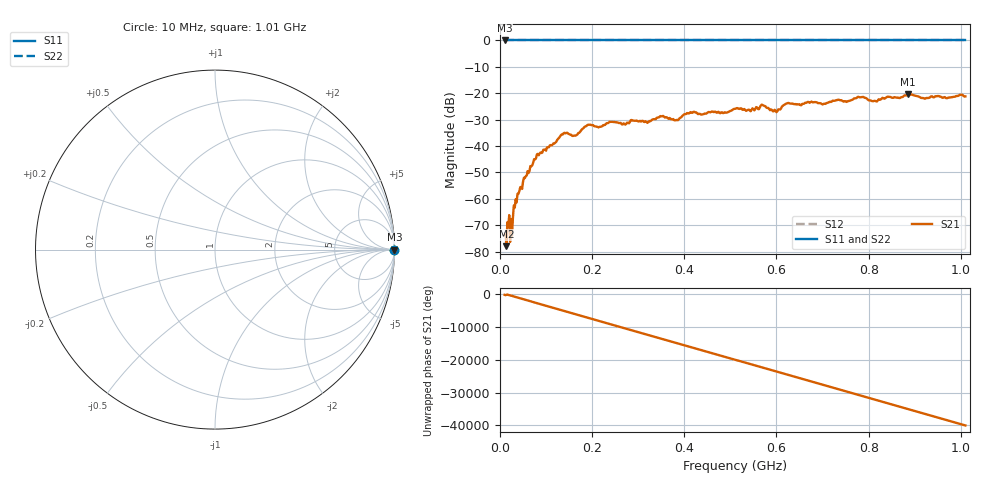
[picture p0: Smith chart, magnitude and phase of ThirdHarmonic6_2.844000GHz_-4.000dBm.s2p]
! 8/17/2025 7:39:20 AM
! C:\ANRITSUVNA\TEMP\TEMP.S2P
! CHANNEL.1
! TR.MEASUREMENT
! RAW.DATA
! RF.CORRECTION.OFF
! AVERAGING.OFF
! IF.BANDWIDTH: 5KHZ
! SWEEPTYPE:  FREQ.SWEEP(Linear)
! Reference Plane Port Info
! PORT:  PORT1  PORT2
! DISTANCE:  0  m  0  m
! TIME:  0  s  0  s
! PHASE.OFFSET:  0  deg.  0  deg.
! LOSS:  0  dB  0  dB
! REF.LOSS:  0  dB  0  dB
! REF.FREQ:  0  Hz  0  Hz
! Power Info
! POWER:  -20  dBm  -20  dBm
! EFF.POWER:  -20  dBm  -20  dBm
! SOURCE.ATTEN:  0  dB  0  dB
! TEST.ATTEN:  0  dB  0  dB
# GHZ S RI R 50.0
! FREQ.GHZ  S11RE  S11IM  S21RE  S21IM  S12RE  S12IM  S22RE  S22IM
!; PortSelection: Port_12
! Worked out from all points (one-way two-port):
!   501 points, 10 MHz to 1.01 GHz, reference 50 ohm
!   highest |S21| = -20.43 dB at 886 MHz (marker M1); lowest = -77.9 dB at 14 MHz (marker M2)
!   lowest |S11| = 0.0 dB at 10 MHz (marker M3)
!   |S11| at or under -10 dB: nowhere
!   |S22| runs from 0.0 to 0.0 dB; largest |S21 - S12| = 1.1
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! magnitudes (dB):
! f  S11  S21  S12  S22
! 10 MHz  0.0  -73.6  0.0  0.0
! 14 MHz  0.0  -77.9  0.0  0.0
! 26 MHz  0.0  -74.1  0.0  0.0
! 34 MHz  0.0  -60.2  0.0  0.0
! 42 MHz  0.0  -57.1  0.0  0.0
! 78 MHz  0.0  -44.7  0.0  0.0
! 136 MHz  0.0  -35.6  0.0  0.0
! 162 MHz  0.0  -36.1  0.0  0.0
! 178 MHz  0.0  -33.6  0.0  0.0
! 194 MHz  0.0  -31.9  0.0  0.0
! 322 MHz  0.0  -30.9  0.0  0.0
! 344 MHz  0.0  -29.2  0.0  0.0
! 382 MHz  0.0  -30.2  0.0  0.0
! 410 MHz  0.0  -27.7  0.0  0.0
! 510 MHz  0.0  -25.9  0.0  0.0
! 570 MHz  0.0  -24.5  0.0  0.0
! 598 MHz  0.0  -26.6  0.0  0.0
! 622 MHz  0.0  -23.9  0.0  0.0
! 678 MHz  0.0  -23.4  0.0  0.0
! 844 MHz  0.0  -21.4  0.0  0.0
! 886 MHz  0.0  -20.4  0.0  0.0
! 1.01 GHz  0.0  -21.2  0.0  0.0
